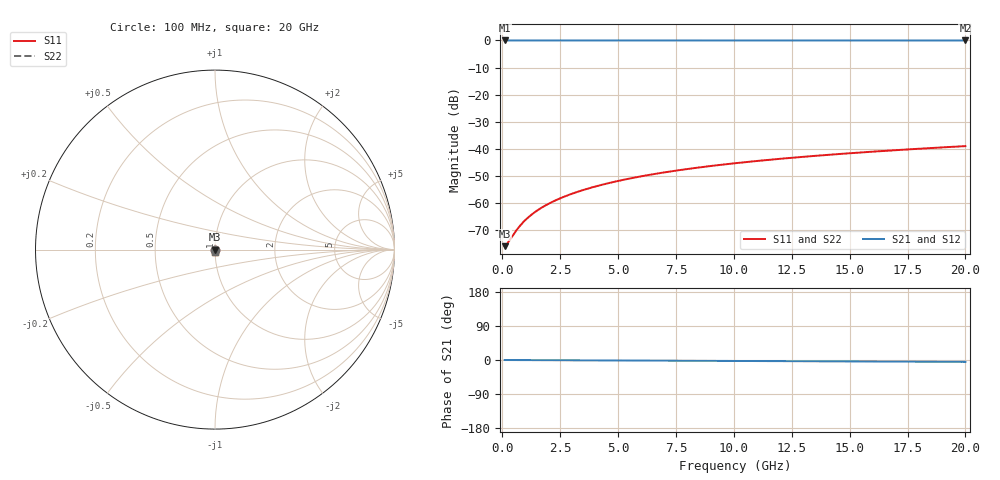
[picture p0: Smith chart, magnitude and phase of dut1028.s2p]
! Touchstone file exported from HFSS 2026.1.0
!  File:  C:/ffzhzh/LocalFiles/Ansys_Project_Files/temp_train_TSV_1028_1783188989_55132.aedt
!  Generated:  02:17:56 AM Jul  5, 2026
!  Design:  TSV
!  Project:  temp_train_TSV_1028_1783188989_55132
! Variables:
!  h_bsmrdl = 2um
!  h_ox = 20um
!  h_rdl = 5um
!  h_sub = 50.19um
!  h_tmrdl = 5um
!  h_tsv = 50.19um
!  h_via = 3um
!  l_bsmrdl = 300um
!  l_sub = 414.16um
!  l_tmrdl = 200um
!  m_sub = 200um
!  pitch = 25.13um
!  r_tsv = 7.08um
!  s_tmrdl = 10um
!  w_bsmrdl = 18um
!  w_sub = 500um
!  w_tmrdl = 12um
!  x_tsv_center1 = 206um
!  x_tsv_center2 = 524um
!  x_tsv_center3 = 736um
!  x_tsv_center4 = 1054um
!  x_tsv_center5 = 1266um
!  x_tsv_center6 = 1584um
# GHz S MA R 50.000000
! Terminal data exported
! Port[1] = TSV1_1_T1
! Port[2] = TSV1_1_T2
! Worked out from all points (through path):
!   200 points, 100 MHz to 20 GHz, reference 50 ohm
!   highest |S21| = 0.00 dB at 100 MHz (marker M1); lowest = 0.0 dB at 20 GHz (marker M2)
!   lowest |S11| = -76.0 dB at 100 MHz (marker M3), VSWR 1.00, Z = 50 - j0.0016 ohm
!   |S11| at or under -10 dB: start of sweep to end of sweep
!   |S22| runs from -76.0 to -39.1 dB; largest |S21 - S12| = 6.6e-15
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0.1  0.0001576 -5.8  0.9998 -0.0  0.9998 -0.0  0.0001576 -5.8
! Gamma 0 0 0 0
! Port Impedance 50 0 50 0
0.2  0.0001735 -11.9  0.9998 -0.1  0.9998 -0.1  0.0001735 -11.9
0.3  0.0001982 -18.2  0.9998 -0.1  0.9998 -0.1  0.0001982 -18.2
0.6  0.000305 -35.3  0.9998 -0.2  0.9998 -0.2  0.000305 -35.3
0.8  0.0003904 -43.9  0.9997 -0.2  0.9997 -0.2  0.0003904 -43.9
0.9  0.0004351 -47.3  0.9997 -0.2  0.9997 -0.2  0.0004351 -47.3
1.1  0.0005269 -53.0  0.9997 -0.3  0.9997 -0.3  0.0005269 -53.0
1.4  0.0006683 -59.1  0.9997 -0.4  0.9997 -0.4  0.0006683 -59.1
1.8  0.0008613 -64.4  0.9996 -0.5  0.9996 -0.5  0.0008613 -64.4
2.3  0.001108 -68.6  0.9996 -0.6  0.9996 -0.6  0.001108 -68.7
2.9  0.001412 -71.9  0.9995 -0.7  0.9995 -0.7  0.001412 -71.9
3.5  0.001724 -74.0  0.9995 -0.9  0.9995 -0.9  0.001724 -74.0
4.2  0.002096 -75.9  0.9994 -1.1  0.9994 -1.1  0.002095 -75.9
5  0.00253 -77.5  0.9994 -1.3  0.9994 -1.3  0.00253 -77.5
5.9  0.003027 -78.9  0.9993 -1.5  0.9993 -1.5  0.003027 -78.9
6.8  0.003531 -80.1  0.9993 -1.7  0.9993 -1.7  0.003531 -80.1
8.3  0.004379 -81.7  0.9992 -2.1  0.9992 -2.1  0.004379 -81.7
10.1  0.005406 -83.3  0.9991 -2.5  0.9991 -2.5  0.005406 -83.3
11.7  0.006322 -84.5  0.9991 -2.9  0.9991 -2.9  0.006322 -84.5
13.4  0.0073 -85.6  0.999 -3.4  0.999 -3.4  0.0073 -85.6
16.7  0.00921 -87.3  0.9989 -4.2  0.9989 -4.2  0.00921 -87.3
20  0.01114 -88.7  0.9987 -5.0  0.9987 -5.0  0.01114 -88.7
